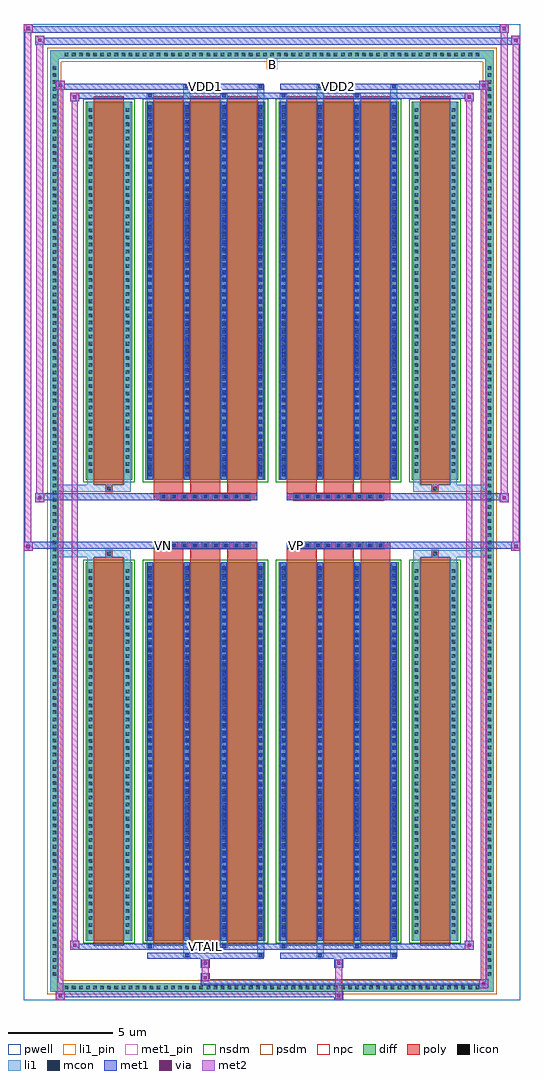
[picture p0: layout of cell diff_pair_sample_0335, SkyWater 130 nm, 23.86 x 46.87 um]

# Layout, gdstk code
import gdstk
lib = gdstk.Library(unit=1e-6, precision=5e-09)
def R(c, l, rs):  # rectangles x0, y0, x1, y1
    for r in rs: c.add(gdstk.rectangle(r[:2], r[2:], *l))
def A(c, l, x, y, w, h, nx, ny, dx, dy):  # array of equal rectangles
    R(c, l, [(x+i*dx, y+j*dy, x+i*dx+w, y+j*dy+h) for i in range(nx) for j in range(ny)])
def P(c, l, *ps):  # polygons
    for p in ps: c.add(gdstk.Polygon(p, *l))
pwell = (64, 44)
diff = (65, 20)
poly = (66, 20)
licon = (66, 44)
li1_pin = (67, 16)
li1 = (67, 20)
mcon = (67, 44)
met1_pin = (68, 16)
met1 = (68, 20)
via = (68, 44)
met2 = (69, 20)
nsdm = (93, 44)
psdm = (94, 20)
npc = (95, 20)

diff_pair_sample_0335 = lib.new_cell('diff_pair_sample_0335')
R(diff_pair_sample_0335, pwell, [(-11.93,-23,11.93,23.87), (-9.25,-21.19,-0.01,-0.805), (0.01,-21.19,9.25,-0.805), (-9.25,0.805,-0.01,21.19), (0.01,0.805,9.25,21.19)])
A(diff_pair_sample_0335, diff, -10.065, -22.6, 0.41, 0.41, 59, 2, 0.34, 44.79)
A(diff_pair_sample_0335, diff, -10.66, -21.965, 0.41, 0.41, 1, 129, 0, 0.34)
A(diff_pair_sample_0335, diff, 10.25, -21.965, 0.41, 0.41, 1, 129, 0, 0.34)
R(diff_pair_sample_0335, diff, [(-10.065,-22.6,10.065,-22.19), (-10.66,-21.965,-10.25,21.965), (10.25,-21.965,10.66,21.965), (-8.94,-20.145,-6.72,-1.985), (-6.08,-20.145,-0.32,-1.985), (0.32,-20.145,6.08,-1.985), (6.72,-20.145,8.94,-1.985), (-8.94,1.985,-6.72,20.145), (-6.08,1.985,-0.32,20.145), (0.32,1.985,6.08,20.145), (6.72,1.985,8.94,20.145), (-10.065,22.19,10.065,22.6)])
P(diff_pair_sample_0335, diff, [(10.66,22.6),(-10.66,22.6),(-10.66,-22.19),(-10.25,-22.19),(-10.25,22.19),(10.25,22.19),(10.25,-22.19),(-10.25,-22.19),(-10.66,-22.19),(-10.66,-22.6),(10.66,-22.6)])
A(diff_pair_sample_0335, poly, -5.69, -20.395, 1.44, 18.66, 3, 2, 1.77, 22.13)
A(diff_pair_sample_0335, poly, 0.71, -20.395, 1.44, 18.66, 3, 2, 1.77, 22.13)
A(diff_pair_sample_0335, poly, -5.69, -1.735, 1.44, 0.4, 3, 2, 1.77, 3.07)
A(diff_pair_sample_0335, poly, 0.71, -1.735, 1.44, 0.4, 3, 2, 1.77, 3.07)
A(diff_pair_sample_0335, poly, -5.365, -1.335, 0.33, 0.33, 9, 2, 0.5, 2.34)
A(diff_pair_sample_0335, poly, 1.035, -1.335, 0.33, 0.33, 9, 2, 0.5, 2.34)
R(diff_pair_sample_0335, poly, [(-8.55,-20.395,-7.11,-1.735), (7.11,-20.395,8.55,-1.735), (-7.995,-1.735,-7.665,-1.405), (-7.995,-1.735,-7.665,-1.405), (7.665,-1.735,7.995,-1.405), (7.665,-1.735,7.995,-1.405), (-5.69,-1.335,-0.71,-1.005), (0.71,-1.335,5.69,-1.005), (-5.69,1.005,-0.71,1.335), (0.71,1.005,5.69,1.335), (-7.995,1.405,-7.665,1.735), (-7.995,1.405,-7.665,1.735), (7.665,1.405,7.995,1.735), (7.665,1.405,7.995,1.735), (-8.55,1.735,-7.11,20.395), (7.11,1.735,8.55,20.395)])
A(diff_pair_sample_0335, licon, -9.945, -22.48, 0.17, 0.17, 59, 2, 0.34, 44.79)
A(diff_pair_sample_0335, licon, -10.54, -21.845, 0.17, 0.17, 1, 129, 0, 0.34)
A(diff_pair_sample_0335, licon, 10.37, -21.845, 0.17, 0.17, 1, 129, 0, 0.34)
A(diff_pair_sample_0335, licon, -8.8, -19.82, 0.17, 0.17, 1, 52, 0, 0.34)
A(diff_pair_sample_0335, licon, -7.03, -19.82, 0.17, 0.17, 1, 52, 0, 0.34)
A(diff_pair_sample_0335, licon, -5.94, -19.82, 0.17, 0.17, 4, 52, 1.77, 0.34)
A(diff_pair_sample_0335, licon, 0.46, -19.82, 0.17, 0.17, 4, 52, 1.77, 0.34)
A(diff_pair_sample_0335, licon, 6.86, -19.82, 0.17, 0.17, 1, 52, 0, 0.34)
A(diff_pair_sample_0335, licon, 8.63, -19.82, 0.17, 0.17, 1, 52, 0, 0.34)
A(diff_pair_sample_0335, licon, -5.285, -1.255, 0.17, 0.17, 9, 2, 0.5, 2.34)
A(diff_pair_sample_0335, licon, 1.115, -1.255, 0.17, 0.17, 9, 2, 0.5, 2.34)
A(diff_pair_sample_0335, licon, -8.8, 2.31, 0.17, 0.17, 1, 52, 0, 0.34)
A(diff_pair_sample_0335, licon, -7.03, 2.31, 0.17, 0.17, 1, 52, 0, 0.34)
A(diff_pair_sample_0335, licon, -5.94, 2.31, 0.17, 0.17, 4, 52, 1.77, 0.34)
A(diff_pair_sample_0335, licon, 0.46, 2.31, 0.17, 0.17, 4, 52, 1.77, 0.34)
A(diff_pair_sample_0335, licon, 6.86, 2.31, 0.17, 0.17, 1, 52, 0, 0.34)
A(diff_pair_sample_0335, licon, 8.63, 2.31, 0.17, 0.17, 1, 52, 0, 0.34)
R(diff_pair_sample_0335, licon, [(-7.915,-1.655,-7.745,-1.485), (7.745,-1.655,7.915,-1.485), (-7.915,1.485,-7.745,1.655), (7.745,1.485,7.915,1.655)])
R(diff_pair_sample_0335, li1_pin, [(-0.25,21.69,0.25,22.19)])
A(diff_pair_sample_0335, li1, -10.025, -22.56, 0.33, 0.33, 59, 2, 0.34, 44.79)
A(diff_pair_sample_0335, li1, -10.62, -21.925, 0.33, 0.33, 1, 129, 0, 0.34)
A(diff_pair_sample_0335, li1, 10.29, -21.925, 0.33, 0.33, 1, 129, 0, 0.34)
A(diff_pair_sample_0335, li1, -6.02, -20.145, 0.33, 18.16, 4, 2, 1.77, 22.13)
A(diff_pair_sample_0335, li1, 0.38, -20.145, 0.33, 18.16, 4, 2, 1.77, 22.13)
A(diff_pair_sample_0335, li1, -5.94, -19.97, 0.17, 0.17, 4, 50, 1.77, 0.36)
A(diff_pair_sample_0335, li1, -5.94, -19.97, 0.17, 17.81, 4, 2, 1.77, 22.13)
A(diff_pair_sample_0335, li1, 0.46, -19.97, 0.17, 0.17, 4, 50, 1.77, 0.36)
A(diff_pair_sample_0335, li1, 0.46, -19.97, 0.17, 17.81, 4, 2, 1.77, 22.13)
A(diff_pair_sample_0335, li1, -8.88, -19.9, 0.33, 0.33, 1, 52, 0, 0.34)
A(diff_pair_sample_0335, li1, -7.11, -19.9, 0.33, 0.33, 1, 52, 0, 0.34)
A(diff_pair_sample_0335, li1, -6.02, -19.9, 0.33, 0.33, 4, 52, 1.77, 0.34)
A(diff_pair_sample_0335, li1, 0.38, -19.9, 0.33, 0.33, 4, 52, 1.77, 0.34)
A(diff_pair_sample_0335, li1, 6.78, -19.9, 0.33, 0.33, 1, 52, 0, 0.34)
A(diff_pair_sample_0335, li1, 8.55, -19.9, 0.33, 0.33, 1, 52, 0, 0.34)
A(diff_pair_sample_0335, li1, -5.365, -1.335, 0.33, 0.33, 9, 2, 0.5, 2.34)
A(diff_pair_sample_0335, li1, 1.035, -1.335, 0.33, 0.33, 9, 2, 0.5, 2.34)
A(diff_pair_sample_0335, li1, -5.94, 2.16, 0.17, 0.17, 4, 50, 1.77, 0.36)
A(diff_pair_sample_0335, li1, 0.46, 2.16, 0.17, 0.17, 4, 50, 1.77, 0.36)
A(diff_pair_sample_0335, li1, -8.88, 2.23, 0.33, 0.33, 1, 52, 0, 0.34)
A(diff_pair_sample_0335, li1, -7.11, 2.23, 0.33, 0.33, 1, 52, 0, 0.34)
A(diff_pair_sample_0335, li1, -6.02, 2.23, 0.33, 0.33, 4, 52, 1.77, 0.34)
A(diff_pair_sample_0335, li1, 0.38, 2.23, 0.33, 0.33, 4, 52, 1.77, 0.34)
A(diff_pair_sample_0335, li1, 6.78, 2.23, 0.33, 0.33, 1, 52, 0, 0.34)
A(diff_pair_sample_0335, li1, 8.55, 2.23, 0.33, 0.33, 1, 52, 0, 0.34)
R(diff_pair_sample_0335, li1, [(-10.66,-22.6,-10.25,-22.19), (-10.66,-22.6,-10.25,-22.19), (-10.25,-22.6,10.25,-22.19), (10.25,-22.6,10.66,-22.19), (10.25,-22.6,10.66,-22.19), (-10.66,-22.19,-10.25,22.19), (10.25,-22.19,10.66,22.19), (-4.25,-20.95,-3.92,-20.145), (-4.17,-20.95,-4,-20.78), (-0.71,-20.95,-0.38,-20.145), (-0.63,-20.95,-0.46,-20.78), (2.15,-20.95,2.48,-20.145), (2.23,-20.95,2.4,-20.78), (5.69,-20.95,6.02,-20.145), (5.77,-20.95,5.94,-20.78), (-6.02,-20.52,-5.69,-20.145), (-5.94,-20.52,-5.77,-20.35), (-2.48,-20.52,-2.15,-20.145), (-2.4,-20.52,-2.23,-20.35), (0.38,-20.52,0.71,-20.145), (0.46,-20.52,0.63,-20.35), (3.92,-20.52,4.25,-20.145), (4,-20.52,4.17,-20.35), (-8.88,-20.145,-8.55,-1.985), (-7.11,-20.145,-6.78,-1.985), (6.78,-20.145,7.11,-1.985), (8.55,-20.145,8.88,-1.985), (-8.88,-1.985,-8.55,-1.405), (-7.11,-1.985,-6.78,-1.405), (6.78,-1.985,7.11,-1.405), (8.55,-1.985,8.88,-1.405), (-10.66,-1.735,-7.995,-1.405), (-8.88,-1.735,-7.995,-1.405), (-7.995,-1.735,-7.665,-1.405), (-7.665,-1.735,-6.78,-1.405), (6.78,-1.735,7.665,-1.405), (7.665,-1.735,7.995,-1.405), (7.665,-1.735,10.66,-1.405), (7.995,-1.735,8.88,-1.405), (-10.66,1.405,-7.995,1.735), (-8.88,1.405,-7.995,1.735), (-8.88,1.405,-8.55,1.985), (-7.995,1.405,-7.665,1.735), (-7.665,1.405,-6.78,1.735), (-7.11,1.405,-6.78,1.985), (6.78,1.405,7.665,1.735), (6.78,1.405,7.11,1.985), (7.665,1.405,7.995,1.735), (7.665,1.405,10.66,1.735), (7.995,1.405,8.88,1.735), (8.55,1.405,8.88,1.985), (-8.88,1.985,-8.55,20.145), (-7.11,1.985,-6.78,20.145), (6.78,1.985,7.11,20.145), (8.55,1.985,8.88,20.145), (-6.02,20.145,-5.69,20.52), (-4.25,20.145,-3.92,20.95), (-2.48,20.145,-2.15,20.52), (-0.71,20.145,-0.38,20.95), (0.38,20.145,0.71,20.52), (2.15,20.145,2.48,20.95), (3.92,20.145,4.25,20.52), (5.69,20.145,6.02,20.95), (-5.94,20.35,-5.77,20.52), (-2.4,20.35,-2.23,20.52), (0.46,20.35,0.63,20.52), (4,20.35,4.17,20.52), (-4.17,20.78,-4,20.95), (-0.63,20.78,-0.46,20.95), (2.23,20.78,2.4,20.95), (5.77,20.78,5.94,20.95), (-10.66,22.19,-10.25,22.6), (-10.66,22.19,-10.25,22.6), (-10.25,22.19,10.25,22.6), (10.25,22.19,10.66,22.6), (10.25,22.19,10.66,22.6)])
A(diff_pair_sample_0335, mcon, -5.94, -19.97, 0.17, 0.17, 4, 50, 1.77, 0.36)
A(diff_pair_sample_0335, mcon, 0.46, -19.97, 0.17, 0.17, 4, 50, 1.77, 0.36)
A(diff_pair_sample_0335, mcon, -5.285, -1.255, 0.17, 0.17, 9, 2, 0.5, 2.34)
A(diff_pair_sample_0335, mcon, 1.115, -1.255, 0.17, 0.17, 9, 2, 0.5, 2.34)
A(diff_pair_sample_0335, mcon, -5.94, 2.16, 0.17, 0.17, 4, 50, 1.77, 0.36)
A(diff_pair_sample_0335, mcon, 0.46, 2.16, 0.17, 0.17, 4, 50, 1.77, 0.36)
R(diff_pair_sample_0335, mcon, [(-4.17,-20.95,-4,-20.78), (-0.63,-20.95,-0.46,-20.78), (2.23,-20.95,2.4,-20.78), (5.77,-20.95,5.94,-20.78), (-5.94,-20.52,-5.77,-20.35), (-2.4,-20.52,-2.23,-20.35), (0.46,-20.52,0.63,-20.35), (4,-20.52,4.17,-20.35), (-5.94,20.35,-5.77,20.52), (-2.4,20.35,-2.23,20.52), (0.46,20.35,0.63,20.52), (4,20.35,4.17,20.52), (-4.17,20.78,-4,20.95), (-0.63,20.78,-0.46,20.95), (2.23,20.78,2.4,20.95), (5.77,20.78,5.94,20.95)])
R(diff_pair_sample_0335, met1_pin, [(-3.335,-20.56,-3.065,-20.29), (-5.335,-1.295,-5.065,-1.025), (1.065,-1.295,1.335,-1.025), (-3.335,20.74,-3.065,21.01), (3.065,20.74,3.335,21.01)])
A(diff_pair_sample_0335, met1, -6, -20.145, 0.29, 18.16, 4, 2, 1.77, 22.13)
A(diff_pair_sample_0335, met1, 0.4, -20.145, 0.29, 18.16, 4, 2, 1.77, 22.13)
A(diff_pair_sample_0335, met1, -6, -20.03, 0.29, 0.29, 4, 50, 1.77, 0.36)
A(diff_pair_sample_0335, met1, 0.4, -20.03, 0.29, 0.29, 4, 50, 1.77, 0.36)
A(diff_pair_sample_0335, met1, -5.345, -1.315, 0.29, 0.29, 9, 2, 0.5, 2.34)
A(diff_pair_sample_0335, met1, 1.055, -1.315, 0.29, 0.29, 9, 2, 0.5, 2.34)
A(diff_pair_sample_0335, met1, -6, 2.1, 0.29, 0.29, 4, 50, 1.77, 0.36)
A(diff_pair_sample_0335, met1, 0.4, 2.1, 0.29, 0.29, 4, 50, 1.77, 0.36)
R(diff_pair_sample_0335, met1, [(-10.39,-23,-9.96,-22.57), (2.985,-23,3.415,-22.57), (-10.39,-22.86,3.415,-22.57), (9.96,-22.43,10.39,-22), (-3.415,-22.29,10.39,-22), (-3.415,-22.15,-2.985,-21.72), (-3.415,-21.44,-2.985,-21.01), (2.985,-21.44,3.415,-21.01), (-6,-21.01,-0.4,-20.72), (-4.23,-21.01,-3.94,-20.72), (-0.69,-21.01,-0.4,-20.72), (0.4,-21.01,6,-20.72), (2.17,-21.01,2.46,-20.72), (5.71,-21.01,6,-20.72), (-9.68,-20.58,-9.25,-20.15), (-9.68,-20.58,-6,-20.29), (-6,-20.58,-5.71,-20.29), (-6,-20.58,-0.4,-20.29), (-2.46,-20.58,-2.17,-20.29), (-0.4,-20.58,0.4,-20.29), (0.4,-20.58,0.69,-20.29), (0.4,-20.58,6,-20.29), (3.94,-20.58,4.23,-20.29), (6,-20.58,9.68,-20.29), (9.25,-20.58,9.68,-20.15), (-11.93,-1.435,-11.5,-1.005), (11.5,-1.435,11.93,-1.005), (-11.93,-1.335,-0.71,-1.005), (-5.69,-1.335,-0.71,-1.005), (0.71,-1.335,5.69,-1.005), (0.71,-1.335,11.93,-1.005), (-11.36,0.905,-10.93,1.335), (10.93,0.905,11.36,1.335), (-11.36,1.005,-5.69,1.335), (-5.69,1.005,-0.71,1.335), (0.71,1.005,5.69,1.335), (5.69,1.005,11.36,1.335), (-9.68,20.15,-9.25,20.58), (9.25,20.15,9.68,20.58), (-9.68,20.29,-6,20.58), (-6,20.29,-5.71,20.58), (-6,20.29,-0.4,20.58), (-2.46,20.29,-2.17,20.58), (-0.4,20.29,0.4,20.58), (0.4,20.29,0.69,20.58), (0.4,20.29,6,20.58), (3.94,20.29,4.23,20.58), (6,20.29,9.68,20.58), (-10.39,20.72,-9.96,21.15), (-10.39,20.72,-6,21.01), (-6,20.72,-0.4,21.01), (-4.23,20.72,-3.94,21.01), (-0.69,20.72,-0.4,21.01), (0.4,20.72,6,21.01), (2.17,20.72,2.46,21.01), (5.71,20.72,6,21.01), (6,20.72,10.39,21.01), (9.96,20.72,10.39,21.15), (-11.36,22.87,-10.93,23.3), (-11.36,22.87,-9.25,23.2), (-9.25,22.87,9.25,23.2), (9.25,22.87,11.93,23.2), (11.5,22.87,11.93,23.3), (-11.93,23.44,-11.5,23.87), (-11.93,23.44,-9.25,23.77), (-9.25,23.44,9.25,23.77), (9.25,23.44,11.36,23.77), (10.93,23.44,11.36,23.87)])
R(diff_pair_sample_0335, via, [(-10.25,-22.86,-10.1,-22.71), (3.125,-22.86,3.275,-22.71), (10.1,-22.29,10.25,-22.14), (-3.275,-22.01,-3.125,-21.86), (-3.275,-21.3,-3.125,-21.15), (3.125,-21.3,3.275,-21.15), (-9.54,-20.44,-9.39,-20.29), (9.39,-20.44,9.54,-20.29), (-11.79,-1.295,-11.64,-1.145), (11.64,-1.295,11.79,-1.145), (-11.22,1.045,-11.07,1.195), (11.07,1.045,11.22,1.195), (-9.54,20.29,-9.39,20.44), (9.39,20.29,9.54,20.44), (-10.25,20.86,-10.1,21.01), (10.1,20.86,10.25,21.01), (-11.22,23.01,-11.07,23.16), (11.64,23.01,11.79,23.16), (-11.79,23.58,-11.64,23.73), (11.07,23.58,11.22,23.73)])
R(diff_pair_sample_0335, met2, [(-10.39,-23,-9.96,-22.57), (-10.32,-23,-10.03,21.15), (-10.03,-23,-9.96,-22.57), (-10.34,-22.95,-10.01,-22.62), (3.035,-22.95,3.365,-22.62), (3.035,-22.62,3.365,-21.39), (9.96,-22.43,10.39,-22), (10.03,-22.43,10.32,21.15), (10.32,-22.43,10.39,-22), (10.01,-22.38,10.34,-22.05), (-3.365,-22.1,-3.035,-21.77), (-3.365,-21.77,-3.035,-21.39), (-3.365,-21.39,-3.035,-21.06), (3.035,-21.39,3.365,-21.06), (-9.68,-20.58,-9.25,-20.15), (-9.61,-20.58,-9.32,20.58), (-9.32,-20.58,-9.25,-20.15), (9.25,-20.58,9.68,-20.15), (9.32,-20.58,9.61,20.58), (9.61,-20.58,9.68,-20.15), (-9.63,-20.53,-9.3,-20.2), (9.3,-20.53,9.63,-20.2), (-11.93,-1.435,-11.5,-1.005), (-11.88,-1.435,-11.55,23.87), (-11.55,-1.435,-11.5,-1.005), (11.5,-1.435,11.93,-1.005), (11.55,-1.435,11.88,23.3), (11.88,-1.435,11.93,-1.005), (-11.88,-1.385,-11.55,-1.055), (11.55,-1.385,11.88,-1.055), (-11.36,0.905,-10.93,1.335), (-11.31,0.905,-10.98,23.3), (-10.98,0.905,-10.93,1.335), (10.93,0.905,11.36,1.335), (10.98,0.905,11.31,23.87), (11.31,0.905,11.36,1.335), (-11.31,0.955,-10.98,1.285), (10.98,0.955,11.31,1.285), (-9.68,20.15,-9.25,20.58), (-9.32,20.15,-9.25,20.58), (9.25,20.15,9.68,20.58), (9.61,20.15,9.68,20.58), (-9.63,20.2,-9.3,20.53), (9.3,20.2,9.63,20.53), (-10.39,20.72,-9.96,21.15), (-10.03,20.72,-9.96,21.15), (9.96,20.72,10.39,21.15), (10.32,20.72,10.39,21.15), (-10.34,20.77,-10.01,21.1), (10.01,20.77,10.34,21.1), (-11.36,22.87,-10.93,23.3), (-10.98,22.87,-10.93,23.3), (11.5,22.87,11.93,23.3), (11.88,22.87,11.93,23.3), (-11.31,22.92,-10.98,23.25), (11.55,22.92,11.88,23.25), (-11.93,23.44,-11.5,23.87), (-11.55,23.44,-11.5,23.87), (10.93,23.44,11.36,23.87), (11.31,23.44,11.36,23.87), (-11.88,23.49,-11.55,23.82), (10.98,23.49,11.31,23.82)])
R(diff_pair_sample_0335, nsdm, [(-9.07,-20.275,-6.59,-1.855), (-6.21,-20.275,-0.19,-1.855), (0.19,-20.275,6.21,-1.855), (6.59,-20.275,9.07,-1.855), (-9.07,1.855,-6.59,20.275), (-6.21,1.855,-0.19,20.275), (0.19,1.855,6.21,20.275), (6.59,1.855,9.07,20.275)])
P(diff_pair_sample_0335, psdm, [(10.79,22.73),(-10.79,22.73),(-10.79,-22.06),(-10.12,-22.06),(-10.12,22.06),(10.12,22.06),(10.12,-22.06),(-10.12,-22.06),(-10.79,-22.06),(-10.79,-22.73),(10.79,-22.73)])
A(diff_pair_sample_0335, npc, -5.385, -1.355, 0.37, 0.37, 9, 2, 0.5, 2.34)
A(diff_pair_sample_0335, npc, 1.015, -1.355, 0.37, 0.37, 9, 2, 0.5, 2.34)
R(diff_pair_sample_0335, npc, [(-8.015,-1.755,-7.645,-1.385), (7.645,-1.755,8.015,-1.385), (-5.385,-1.355,-4.515,-0.985), (-5.385,-1.355,-4.515,-0.985), (-4.885,-1.355,-4.015,-0.985), (-4.885,-1.355,-4.015,-0.985), (-4.385,-1.355,-3.515,-0.985), (-4.385,-1.355,-3.515,-0.985), (-3.885,-1.355,-3.015,-0.985), (-3.885,-1.355,-3.015,-0.985), (-3.385,-1.355,-2.515,-0.985), (-3.385,-1.355,-2.515,-0.985), (-2.885,-1.355,-2.015,-0.985), (-2.885,-1.355,-2.015,-0.985), (-2.385,-1.355,-1.515,-0.985), (-2.385,-1.355,-1.515,-0.985), (-1.885,-1.355,-1.015,-0.985), (-1.885,-1.355,-1.015,-0.985), (1.015,-1.355,1.885,-0.985), (1.015,-1.355,1.885,-0.985), (1.515,-1.355,2.385,-0.985), (1.515,-1.355,2.385,-0.985), (2.015,-1.355,2.885,-0.985), (2.015,-1.355,2.885,-0.985), (2.515,-1.355,3.385,-0.985), (2.515,-1.355,3.385,-0.985), (3.015,-1.355,3.885,-0.985), (3.015,-1.355,3.885,-0.985), (3.515,-1.355,4.385,-0.985), (3.515,-1.355,4.385,-0.985), (4.015,-1.355,4.885,-0.985), (4.015,-1.355,4.885,-0.985), (4.515,-1.355,5.385,-0.985), (4.515,-1.355,5.385,-0.985), (-5.385,0.985,-4.515,1.355), (-5.385,0.985,-4.515,1.355), (-4.885,0.985,-4.015,1.355), (-4.885,0.985,-4.015,1.355), (-4.385,0.985,-3.515,1.355), (-4.385,0.985,-3.515,1.355), (-3.885,0.985,-3.015,1.355), (-3.885,0.985,-3.015,1.355), (-3.385,0.985,-2.515,1.355), (-3.385,0.985,-2.515,1.355), (-2.885,0.985,-2.015,1.355), (-2.885,0.985,-2.015,1.355), (-2.385,0.985,-1.515,1.355), (-2.385,0.985,-1.515,1.355), (-1.885,0.985,-1.015,1.355), (-1.885,0.985,-1.015,1.355), (1.015,0.985,1.885,1.355), (1.015,0.985,1.885,1.355), (1.515,0.985,2.385,1.355), (1.515,0.985,2.385,1.355), (2.015,0.985,2.885,1.355), (2.015,0.985,2.885,1.355), (2.515,0.985,3.385,1.355), (2.515,0.985,3.385,1.355), (3.015,0.985,3.885,1.355), (3.015,0.985,3.885,1.355), (3.515,0.985,4.385,1.355), (3.515,0.985,4.385,1.355), (4.015,0.985,4.885,1.355), (4.015,0.985,4.885,1.355), (4.515,0.985,5.385,1.355), (4.515,0.985,5.385,1.355), (-8.015,1.385,-7.645,1.755), (7.645,1.385,8.015,1.755)])
diff_pair_sample_0335.add(gdstk.Label('VTAIL', (-3.2,-20.425), layer=68, texttype=5))
diff_pair_sample_0335.add(gdstk.Label('VN', (-5.2,-1.16), layer=68, texttype=5))
diff_pair_sample_0335.add(gdstk.Label('VP', (1.2,-1.16), layer=68, texttype=5))
diff_pair_sample_0335.add(gdstk.Label('B', (0,21.94), layer=67, texttype=5))
diff_pair_sample_0335.add(gdstk.Label('VDD2', (3.2,20.875), layer=68, texttype=5))
diff_pair_sample_0335.add(gdstk.Label('VDD1', (-3.2,20.875), layer=68, texttype=5))

lib.write_gds('diff_pair_sample_0335.gds')
